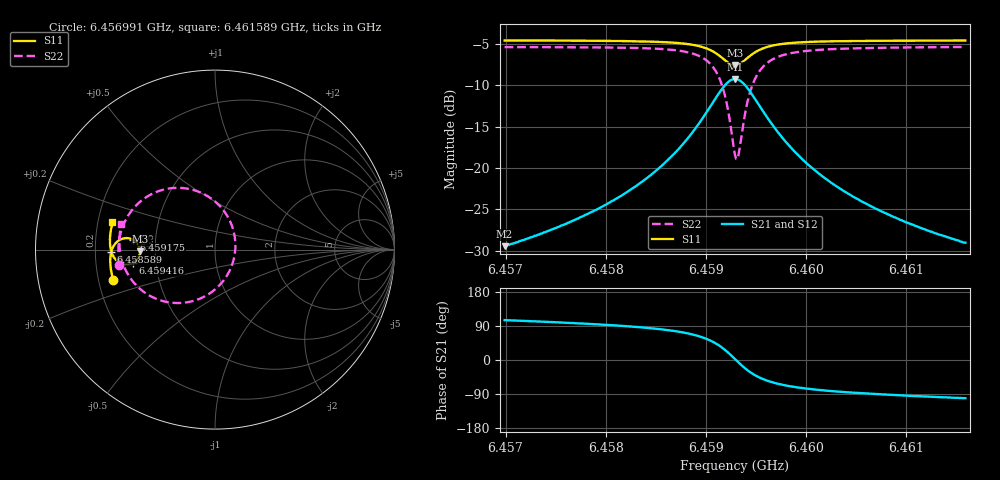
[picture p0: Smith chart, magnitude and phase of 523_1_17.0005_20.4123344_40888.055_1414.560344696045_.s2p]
#  HZ  S  RI  R  50.00
! Rohde & Schwarz Vector Network Analyzer
! Rohde-Schwarz,ZNB20-2Port,1311601062101988,3.16
! Created: UTC 3/20/2024, 11:15:34 PM
! freq[Hz]  re:S11  im:S11  re:S21  im:S21  re:S12  im:S12  re:S22  im:S22
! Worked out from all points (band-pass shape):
!   401 points, 6.456991 GHz to 6.461589 GHz, reference 50 ohm
!   highest |S21| = -9.22 dB at 6.45929 GHz (marker M1); lowest = -29.5 dB at 6.456991 GHz (marker M2)
!   |S21| within 3 dB of the highest: 6.459061 GHz to 6.459521 GHz (459.4 kHz wide, 0.00711 % of centre)
!   lowest |S11| = -7.6 dB at 6.45929 GHz (marker M3), VSWR 2.44, Z = 20.5 - j0.444 ohm
!   |S11| at or under -10 dB: nowhere
!   |S22| runs from -18.9 to -5.3 dB; largest |S21 - S12| = 0.014
!   S11 on the Smith chart (normalised r, x): 6.456991 GHz: 0.26, -0.14; 6.458589 GHz: 0.27, -0.01; 6.459175 GHz: 0.37, +0.05; 6.459416 GHz: 0.37, -0.07; 6.461589 GHz: 0.26, +0.12
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6.4569908e9  -0.5669 -0.1709  -0.00883 0.0324  -0.00723 0.0324  -0.533 -0.0835
6.457761e9  -0.5808 -0.1037  -0.00554 0.0504  -0.00303 0.0499  -0.5381 0.00664
6.4581634e9  -0.5837 -0.0637  -8.51e-05 0.0684  0.00314 0.0672  -0.5306 0.0698
6.4585313e9  -0.5798 -0.0199  0.0143 0.0988  0.0183 0.096  -0.5043 0.1517
6.4585887e9  -0.578 -0.0119  0.0188 0.1056  0.0227 0.1025  -0.4961 0.1683
6.4587957e9  -0.565 0.0201  0.0463 0.1379  0.0504 0.133  -0.4443 0.2409
6.4589451e9  -0.5425 0.0464  0.0915 0.1683  0.0946 0.1617  -0.3608 0.3053
6.4590831e9  -0.4988 0.0639  0.1783 0.1849  0.1793 0.1777  -0.2019 0.3442
6.4591751e9  -0.4542 0.0537  0.2683 0.154  0.2685 0.1482  -0.0354 0.2942
6.459244e9  -0.425 0.0221  0.329 0.0826  0.3312 0.0772  0.0807 0.1652
6.45929e9  -0.4179 -0.00893  0.3458 0.0147  0.3494 0.00782  0.1136 0.0382
6.4593015e9  -0.4184 -0.0169  0.3456 -0.00324  0.3494 -0.0107  0.1134 0.00451
6.4593245e9  -0.4218 -0.0326  0.3402 -0.038  0.344 -0.047  0.1025 -0.0617
6.4593705e9  -0.4372 -0.0588  0.3119 -0.0982  0.314 -0.11  0.045 -0.1756
6.4594165e9  -0.4593 -0.0752  0.2696 -0.1397  0.269 -0.1528  -0.0402 -0.2512
6.4595085e9  -0.5028 -0.0823  0.1845 -0.171  0.1785 -0.1826  -0.2102 -0.2977
6.4596579e9  -0.5467 -0.0618  0.0963 -0.1572  0.0878 -0.1633  -0.3785 -0.248
6.4598304e9  -0.5693 -0.0322  0.0492 -0.1273  0.0416 -0.1298  -0.463 -0.1707
6.4600603e9  -0.581 0.0015  0.0222 -0.0975  0.0163 -0.098  -0.5072 -0.0928
6.4603822e9  -0.5854 0.0399  0.00685 -0.0719  0.00259 -0.0714  -0.5279 -0.0177
6.4608305e9  -0.5835 0.0852  -0.00149 -0.0519  -0.00437 -0.051  -0.5326 0.0551
6.4615893e9  -0.5712 0.1524  -0.00656 -0.0347  -0.00825 -0.0336  -0.521 0.1447
